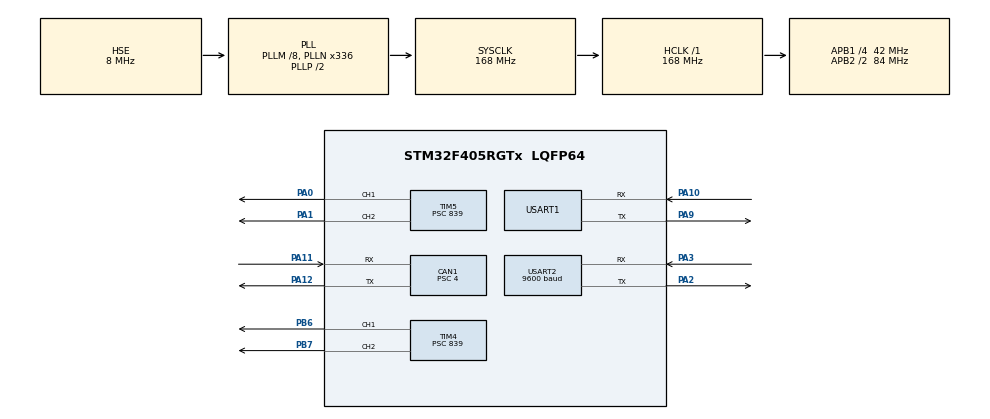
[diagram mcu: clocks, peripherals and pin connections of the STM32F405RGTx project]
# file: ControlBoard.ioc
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CAN1.BS1=CAN_BS1_14TQ
CAN1.BS2=CAN_BS2_6TQ
CAN1.CalculateBaudRate=500000
CAN1.CalculateTimeBit=2000
CAN1.CalculateTimeQuantum=95.23809523809524
CAN1.Prescaler=4
Mcu.Family=STM32F4
Mcu.Name=STM32F405RGTx
Mcu.Package=LQFP64
NVIC.CAN1_RX0_IRQn=true\:0\:0\:false\:false\:true\:true\:true\:true
NVIC.PriorityGroup=NVIC_PRIORITYGROUP_4
NVIC.USART1_IRQn=true\:0\:0\:false\:false\:true\:true\:true\:true
NVIC.USART2_IRQn=true\:0\:0\:false\:false\:true\:true\:true\:true
PA0-WKUP.Signal=S_TIM5_CH1
PA1.Signal=S_TIM5_CH2
PA10.Mode=Asynchronous
PA10.Signal=USART1_RX
PA11.GPIO_PuPd=GPIO_PULLUP
PA11.Mode=CAN_Activate
PA11.Signal=CAN1_RX
PA12.GPIO_PuPd=GPIO_PULLUP
PA12.Mode=CAN_Activate
PA12.Signal=CAN1_TX
PA13.Mode=Serial_Wire
PA13.Signal=SYS_JTMS-SWDIO
PA14.Mode=Serial_Wire
PA14.Signal=SYS_JTCK-SWCLK
PA2.Mode=Asynchronous
PA2.Signal=USART2_TX
PA3.Mode=Asynchronous
PA3.Signal=USART2_RX
PA9.Mode=Asynchronous
PA9.Signal=USART1_TX
PB6.Signal=S_TIM4_CH1
PB7.Signal=S_TIM4_CH2
PH0-OSC_IN.Mode=HSE-External-Oscillator
PH0-OSC_IN.Signal=RCC_OSC_IN
PH1-OSC_OUT.Mode=HSE-External-Oscillator
PH1-OSC_OUT.Signal=RCC_OSC_OUT
ProjectManager.HeapSize=0x200
ProjectManager.StackSize=0x400
ProjectManager.TargetToolchain=MDK-ARM V5.32
RCC.48MHZClocksFreq_Value=84000000
RCC.AHBFreq_Value=168000000
RCC.APB1CLKDivider=RCC_HCLK_DIV4
RCC.APB1Freq_Value=42000000
RCC.APB1TimFreq_Value=84000000
RCC.APB2CLKDivider=RCC_HCLK_DIV2
RCC.APB2Freq_Value=84000000
RCC.APB2TimFreq_Value=168000000
RCC.CortexFreq_Value=168000000
RCC.HCLKFreq_Value=168000000
RCC.HSE_VALUE=8000000
RCC.HSI_VALUE=16000000
RCC.LSE_VALUE=32768
RCC.PLLM=8
RCC.PLLN=336
RCC.PLLSourceVirtual=RCC_PLLSOURCE_HSE
RCC.SYSCLKFreq_VALUE=168000000
RCC.SYSCLKSource=RCC_SYSCLKSOURCE_PLLCLK
RCC.VCOOutputFreq_Value=336000000
SH.S_TIM4_CH1.0=TIM4_CH1,PWM Generation1 CH1
SH.S_TIM4_CH2.0=TIM4_CH2,PWM Generation2 CH2
SH.S_TIM5_CH1.0=TIM5_CH1,PWM Generation1 CH1
SH.S_TIM5_CH2.0=TIM5_CH2,PWM Generation2 CH2
TIM4.AutoReloadPreload=TIM_AUTORELOAD_PRELOAD_ENABLE
TIM4.Channel-PWM\ Generation1\ CH1=TIM_CHANNEL_1
TIM4.Channel-PWM\ Generation2\ CH2=TIM_CHANNEL_2
TIM4.OCMode_PWM-PWM\ Generation1\ CH1=TIM_OCMODE_PWM2
TIM4.OCMode_PWM-PWM\ Generation2\ CH2=TIM_OCMODE_PWM2
TIM4.OCPolarity_1=TIM_OCPOLARITY_LOW
TIM4.OCPolarity_2=TIM_OCPOLARITY_LOW
TIM4.Period=1999
TIM4.Prescaler=839
TIM4.Pulse-PWM\ Generation1\ CH1=0
TIM4.Pulse-PWM\ Generation2\ CH2=0
TIM5.AutoReloadPreload=TIM_AUTORELOAD_PRELOAD_ENABLE
TIM5.Channel-PWM\ Generation1\ CH1=TIM_CHANNEL_1
TIM5.Channel-PWM\ Generation2\ CH2=TIM_CHANNEL_2
TIM5.OCMode_PWM-PWM\ Generation1\ CH1=TIM_OCMODE_PWM2
TIM5.OCMode_PWM-PWM\ Generation2\ CH2=TIM_OCMODE_PWM2
TIM5.OCPolarity_1=TIM_OCPOLARITY_LOW
TIM5.OCPolarity_2=TIM_OCPOLARITY_LOW
TIM5.Period=1999
TIM5.Prescaler=839
TIM5.Pulse-PWM\ Generation1\ CH1=0
USART1.VirtualMode=VM_ASYNC
USART2.BaudRate=9600
USART2.VirtualMode=VM_ASYNC
VP_TIM4_VS_ClockSourceINT.Mode=Internal
VP_TIM5_VS_ClockSourceINT.Mode=Internal
board=custom

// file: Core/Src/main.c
/* USER CODE BEGIN Header */
/**
  ******************************************************************************
  * @file           : main.c
  * @brief          : Main program body
  ******************************************************************************
  * @attention
  *
  * Copyright (c) 2023 STMicroelectronics.
  * All rights reserved.
  *
  * This software is licensed under terms that can be found in the LICENSE file
  * in the root directory of this software component.
  * If no LICENSE file comes with this software, it is provided AS-IS.
  *
  ******************************************************************************
  */
/* USER CODE END Header */
#include "main.h"

/* USER CODE BEGIN Includes */
#include "can.h"
#include "tim.h"
#include "usart.h"
#include "pid.h"
/* USER CODE END Includes */

CAN_HandleTypeDef hcan1;

TIM_HandleTypeDef htim4;
TIM_HandleTypeDef htim5;

UART_HandleTypeDef huart1;
UART_HandleTypeDef huart2;

/* USER CODE BEGIN PV */
// button
uint8_t botton_LU, botton_LD, botton_LL, botton_LR;
uint8_t botton_RU, botton_RD, botton_RL, botton_RR;
uint8_t botton_top_LT, botton_top_LB, botton_top_RT, botton_top_RB;
uint8_t botton_A, botton_B, botton_center;
// rocker
uint16_t rocker[4]; //01是右摇杆 23是左摇杆

extern uint8_t aRxBuffer;
/* USER CODE END PV */

void SystemClock_Config(void);
static void MX_GPIO_Init(void);
static void MX_CAN1_Init(void);
static void MX_TIM4_Init(void);
static void MX_TIM5_Init(void);
static void MX_USART1_UART_Init(void);
static void MX_USART2_UART_Init(void);

int main(void)
{
  /* USER CODE BEGIN 1 */

	// 电机速度 舵机角度
	const uint8_t MOTOR_SPEED_NONE = 0;
	const uint8_t MOTOR_SPEED_LOW = 20;
	const uint8_t SERVO_ANGLE_NONE =0;
	const uint8_t SERVO_ANGLE_LOW = 30;

	// 按钮 摇杆
	const uint8_t BUTTON_PRESS = 0x00;
	const uint16_t ROCKER_THRESHOLD_MAX = 3000; // 摇杆值为0-3400 超过这个值则认为触发
	const uint16_t ROCKER_THRESHOLD_MIN = 400; // 摇杆值为0-3400 超过这个值则认为触发

  /* USER CODE END 1 */

  /* MCU Configuration--------------------------------------------------------*/

  /* Reset of all peripherals, Initializes the Flash interface and the Systick. */
  HAL_Init();

  /* Configure the system clock */
  SystemClock_Config();

  /* Initialize all configured peripherals */
  MX_GPIO_Init();
  MX_CAN1_Init();
  MX_TIM4_Init();
  MX_TIM5_Init();
  MX_USART1_UART_Init();
  MX_USART2_UART_Init();
  /* USER CODE BEGIN 2 */
	// Open CAN Interrupt
	HAL_CAN_Start(&hcan1);
	HAL_CAN_ActivateNotification(&hcan1, CAN_IT_RX_FIFO0_MSG_PENDING);
	// Open TIMER
	HAL_TIM_Base_Start(&htim4);
	HAL_TIM_Base_Start(&htim5);
	// Open PWM Output
	HAL_TIM_PWM_Start(&htim4, TIM_CHANNEL_1);
	HAL_TIM_PWM_Start(&htim4, TIM_CHANNEL_2);
	HAL_TIM_PWM_Start(&htim5, TIM_CHANNEL_1);
	HAL_TIM_PWM_Start(&htim5, TIM_CHANNEL_2);
	// Init ESC
	motorControl(&htim5, MOTOR_SPEED_NONE, 0);
	motorControl(&htim5, MOTOR_SPEED_NONE, 1);
	servoControl(&htim4, SERVO_ANGLE_NONE, 0);
	servoControl(&htim4, SERVO_ANGLE_NONE, 1);
	// Open UART2 Interrupt
	HAL_UART_Receive_IT(&huart2, (uint8_t *)&aRxBuffer, 1);
  /* USER CODE END 2 */

  /* Infinite loop */
  /* USER CODE BEGIN WHILE */

	// 控制模式
	enum controlMode
	{
		PidControl,// PID控制
		ConstValueControl, //定值控制
		Stop, //停止
	};
	int controlmode = ConstValueControl;

  while (1)
  {
		// 发送手柄数据
		SerialWrite(&huart1,
								 botton_LU, botton_LD, botton_LL, botton_LR,
								 botton_RU, botton_RD, botton_RL, botton_RR,
								 botton_top_LT, botton_top_LB, botton_top_RT, botton_top_RB,
								 botton_A, botton_B, botton_center,
								 rocker);

		// 摇杆值定义
		uint16_t left_rocker_x = rocker[3];
		uint16_t left_rocker_y = rocker[2];
		uint16_t right_rocker_x = rocker[1];
		uint16_t right_rocker_y = rocker[0];

		// 确定控制模式
		if(botton_A == BUTTON_PRESS)
		{
			controlmode = ConstValueControl;
		}
		if(botton_B == BUTTON_PRESS)
		{
			controlmode = PidControl;
		}
		if(botton_center == BUTTON_PRESS)
		{
			controlmode = Stop;
		}

		//定值控制
		if(controlmode == ConstValueControl)
		{
			// 电机控制
			if(botton_LU == BUTTON_PRESS  || left_rocker_y > ROCKER_THRESHOLD_MAX) //向前
			{
				motorControl(&htim5, MOTOR_SPEED_LOW, 0);
				motorControl(&htim5, -MOTOR_SPEED_LOW, 1);
			}
			else if(botton_LD == BUTTON_PRESS || left_rocker_y < ROCKER_THRESHOLD_MIN) //向后
			{
				motorControl(&htim5, -MOTOR_SPEED_LOW, 0);
				motorControl(&htim5, MOTOR_SPEED_LOW, 1);
			}
			else if(botton_LL == BUTTON_PRESS || left_rocker_x < ROCKER_THRESHOLD_MIN) //向左
			{
				motorControl(&htim5, -MOTOR_SPEED_LOW, 0);
				motorControl(&htim5, -MOTOR_SPEED_LOW, 1);
			}
			else if(botton_LR == BUTTON_PRESS || left_rocker_x > ROCKER_THRESHOLD_MAX) //向右
			{
				motorControl(&htim5, MOTOR_SPEED_LOW, 0);
				motorControl(&htim5, MOTOR_SPEED_LOW, 1);
			}
			else //没有按下则停止
			{
				motorControl(&htim5, MOTOR_SPEED_NONE, 0);
				motorControl(&htim5, MOTOR_SPEED_NONE, 1);
			}

			//舵机控制
			if(botton_RU == BUTTON_PRESS || right_rocker_y > ROCKER_THRESHOLD_MAX) //上仰
			{
				servoControl(&htim4, -SERVO_ANGLE_LOW, 0);
				servoControl(&htim4, -SERVO_ANGLE_LOW, 1);
			}
			else if(botton_RD == BUTTON_PRESS || right_rocker_y < ROCKER_THRESHOLD_MIN) //下潜
			{
				servoControl(&htim4, SERVO_ANGLE_LOW, 0);
				servoControl(&htim4, SERVO_ANGLE_LOW, 1);
			}
			else if(botton_RL == BUTTON_PRESS || right_rocker_x < ROCKER_THRESHOLD_MIN) //左滚
			{

			}
			else if(botton_RR == BUTTON_PRESS || right_rocker_x > ROCKER_THRESHOLD_MAX) //右滚
			{

			}
			else
			{
				servoControl(&htim4, SERVO_ANGLE_NONE, 0);
				servoControl(&htim4, SERVO_ANGLE_NONE, 1);
			}

		}
		// PID控制
		else if(controlmode == PidControl)
		{

		}
		else if(controlmode == Stop)
		{
			motorControl(&htim5, MOTOR_SPEED_NONE, 0);
			motorControl(&htim5, MOTOR_SPEED_NONE, 1);
			servoControl(&htim4, SERVO_ANGLE_NONE, 0);
			servoControl(&htim4, SERVO_ANGLE_NONE, 1);
		}

		HAL_Delay(50);
    /* USER CODE END WHILE */

  }
}

void SystemClock_Config(void)
{
  RCC_OscInitTypeDef RCC_OscInitStruct = {0};
  RCC_ClkInitTypeDef RCC_ClkInitStruct = {0};

  /** Configure the main internal regulator output voltage
  */
  __HAL_RCC_PWR_CLK_ENABLE();
  __HAL_PWR_VOLTAGESCALING_CONFIG(PWR_REGULATOR_VOLTAGE_SCALE1);

  /** Initializes the RCC Oscillators according to the specified parameters
  * in the RCC_OscInitTypeDef structure.
  */
  RCC_OscInitStruct.OscillatorType = RCC_OSCILLATORTYPE_HSE;
  RCC_OscInitStruct.HSEState = RCC_HSE_ON;
  RCC_OscInitStruct.PLL.PLLState = RCC_PLL_ON;
  RCC_OscInitStruct.PLL.PLLSource = RCC_PLLSOURCE_HSE;
  RCC_OscInitStruct.PLL.PLLM = 8;
  RCC_OscInitStruct.PLL.PLLN = 336;
  RCC_OscInitStruct.PLL.PLLP = RCC_PLLP_DIV2;
  RCC_OscInitStruct.PLL.PLLQ = 4;
  if (HAL_RCC_OscConfig(&RCC_OscInitStruct) != HAL_OK)
  {
    Error_Handler();
  }

  /** Initializes the CPU, AHB and APB buses clocks
  */
  RCC_ClkInitStruct.ClockType = RCC_CLOCKTYPE_HCLK|RCC_CLOCKTYPE_SYSCLK
                              |RCC_CLOCKTYPE_PCLK1|RCC_CLOCKTYPE_PCLK2;
  RCC_ClkInitStruct.SYSCLKSource = RCC_SYSCLKSOURCE_PLLCLK;
  RCC_ClkInitStruct.AHBCLKDivider = RCC_SYSCLK_DIV1;
  RCC_ClkInitStruct.APB1CLKDivider = RCC_HCLK_DIV4;
  RCC_ClkInitStruct.APB2CLKDivider = RCC_HCLK_DIV2;

  if (HAL_RCC_ClockConfig(&RCC_ClkInitStruct, FLASH_LATENCY_5) != HAL_OK)
  {
    Error_Handler();
  }
}

static void MX_CAN1_Init(void)
{

  hcan1.Instance = CAN1;
  hcan1.Init.Prescaler = 4;
  hcan1.Init.Mode = CAN_MODE_NORMAL;
  hcan1.Init.SyncJumpWidth = CAN_SJW_1TQ;
  hcan1.Init.TimeSeg1 = CAN_BS1_14TQ;
  hcan1.Init.TimeSeg2 = CAN_BS2_6TQ;
  hcan1.Init.TimeTriggeredMode = DISABLE;
  hcan1.Init.AutoBusOff = DISABLE;
  hcan1.Init.AutoWakeUp = DISABLE;
  hcan1.Init.AutoRetransmission = DISABLE;
  hcan1.Init.ReceiveFifoLocked = DISABLE;
  hcan1.Init.TransmitFifoPriority = DISABLE;
  if (HAL_CAN_Init(&hcan1) != HAL_OK)
  {
    Error_Handler();
  }
  /* USER CODE BEGIN CAN1_Init 2 */
	CAN_FilterTypeDef sFilterConfig;

	sFilterConfig.FilterBank = 0;
	sFilterConfig.FilterIdHigh = 0;
	sFilterConfig.FilterIdLow =  0;
	sFilterConfig.FilterMaskIdHigh = 0;
	sFilterConfig.FilterMaskIdLow = 0;
	sFilterConfig.FilterFIFOAssignment = CAN_RX_FIFO0;
	sFilterConfig.FilterMode = CAN_FILTERMODE_IDMASK;
	sFilterConfig.FilterScale = CAN_FILTERSCALE_32BIT;
	sFilterConfig.FilterActivation = ENABLE;
	sFilterConfig.SlaveStartFilterBank = 14;

	if(HAL_CAN_ConfigFilter(&hcan1, &sFilterConfig) != HAL_OK)
	{
		Error_Handler();
	}
  /* USER CODE END CAN1_Init 2 */

}

static void MX_TIM4_Init(void)
{

  TIM_ClockConfigTypeDef sClockSourceConfig = {0};
  TIM_MasterConfigTypeDef sMasterConfig = {0};
  TIM_OC_InitTypeDef sConfigOC = {0};

  htim4.Instance = TIM4;
  htim4.Init.Prescaler = 839;
  htim4.Init.CounterMode = TIM_COUNTERMODE_UP;
  htim4.Init.Period = 1999;
  htim4.Init.ClockDivision = TIM_CLOCKDIVISION_DIV1;
  htim4.Init.AutoReloadPreload = TIM_AUTORELOAD_PRELOAD_ENABLE;
  if (HAL_TIM_Base_Init(&htim4) != HAL_OK)
  {
    Error_Handler();
  }
  sClockSourceConfig.ClockSource = TIM_CLOCKSOURCE_INTERNAL;
  if (HAL_TIM_ConfigClockSource(&htim4, &sClockSourceConfig) != HAL_OK)
  {
    Error_Handler();
  }
  if (HAL_TIM_PWM_Init(&htim4) != HAL_OK)
  {
    Error_Handler();
  }
  sMasterConfig.MasterOutputTrigger = TIM_TRGO_RESET;
  sMasterConfig.MasterSlaveMode = TIM_MASTERSLAVEMODE_DISABLE;
  if (HAL_TIMEx_MasterConfigSynchronization(&htim4, &sMasterConfig) != HAL_OK)
  {
    Error_Handler();
  }
  sConfigOC.OCMode = TIM_OCMODE_PWM2;
  sConfigOC.Pulse = 0;
  sConfigOC.OCPolarity = TIM_OCPOLARITY_LOW;
  sConfigOC.OCFastMode = TIM_OCFAST_DISABLE;
  if (HAL_TIM_PWM_ConfigChannel(&htim4, &sConfigOC, TIM_CHANNEL_1) != HAL_OK)
  {
    Error_Handler();
  }
  if (HAL_TIM_PWM_ConfigChannel(&htim4, &sConfigOC, TIM_CHANNEL_2) != HAL_OK)
  {
    Error_Handler();
  }
  HAL_TIM_MspPostInit(&htim4);

}

static void MX_TIM5_Init(void)
{

  TIM_ClockConfigTypeDef sClockSourceConfig = {0};
  TIM_MasterConfigTypeDef sMasterConfig = {0};
  TIM_OC_InitTypeDef sConfigOC = {0};

  htim5.Instance = TIM5;
  htim5.Init.Prescaler = 839;
  htim5.Init.CounterMode = TIM_COUNTERMODE_UP;
  htim5.Init.Period = 1999;
  htim5.Init.ClockDivision = TIM_CLOCKDIVISION_DIV1;
  htim5.Init.AutoReloadPreload = TIM_AUTORELOAD_PRELOAD_ENABLE;
  if (HAL_TIM_Base_Init(&htim5) != HAL_OK)
  {
    Error_Handler();
  }
  sClockSourceConfig.ClockSource = TIM_CLOCKSOURCE_INTERNAL;
  if (HAL_TIM_ConfigClockSource(&htim5, &sClockSourceConfig) != HAL_OK)
  {
    Error_Handler();
  }
  if (HAL_TIM_PWM_Init(&htim5) != HAL_OK)
  {
    Error_Handler();
  }
  sMasterConfig.MasterOutputTrigger = TIM_TRGO_RESET;
  sMasterConfig.MasterSlaveMode = TIM_MASTERSLAVEMODE_DISABLE;
  if (HAL_TIMEx_MasterConfigSynchronization(&htim5, &sMasterConfig) != HAL_OK)
  {
    Error_Handler();
  }
  sConfigOC.OCMode = TIM_OCMODE_PWM2;
  sConfigOC.Pulse = 0;
  sConfigOC.OCPolarity = TIM_OCPOLARITY_LOW;
  sConfigOC.OCFastMode = TIM_OCFAST_DISABLE;
  if (HAL_TIM_PWM_ConfigChannel(&htim5, &sConfigOC, TIM_CHANNEL_1) != HAL_OK)
  {
    Error_Handler();
  }
  if (HAL_TIM_PWM_ConfigChannel(&htim5, &sConfigOC, TIM_CHANNEL_2) != HAL_OK)
  {
    Error_Handler();
  }
  HAL_TIM_MspPostInit(&htim5);

}

static void MX_USART1_UART_Init(void)
{

  huart1.Instance = USART1;
  huart1.Init.BaudRate = 115200;
  huart1.Init.WordLength = UART_WORDLENGTH_8B;
  huart1.Init.StopBits = UART_STOPBITS_1;
  huart1.Init.Parity = UART_PARITY_NONE;
  huart1.Init.Mode = UART_MODE_TX_RX;
  huart1.Init.HwFlowCtl = UART_HWCONTROL_NONE;
  huart1.Init.OverSampling = UART_OVERSAMPLING_16;
  if (HAL_UART_Init(&huart1) != HAL_OK)
  {
    Error_Handler();
  }

}

static void MX_USART2_UART_Init(void)
{

  huart2.Instance = USART2;
  huart2.Init.BaudRate = 115200;
  huart2.Init.WordLength = UART_WORDLENGTH_8B;
  huart2.Init.StopBits = UART_STOPBITS_1;
  huart2.Init.Parity = UART_PARITY_NONE;
  huart2.Init.Mode = UART_MODE_TX_RX;
  huart2.Init.HwFlowCtl = UART_HWCONTROL_NONE;
  huart2.Init.OverSampling = UART_OVERSAMPLING_16;
  if (HAL_UART_Init(&huart2) != HAL_OK)
  {
    Error_Handler();
  }

}

static void MX_GPIO_Init(void)
{

  /* GPIO Ports Clock Enable */
  __HAL_RCC_GPIOH_CLK_ENABLE();
  __HAL_RCC_GPIOA_CLK_ENABLE();
  __HAL_RCC_GPIOB_CLK_ENABLE();

}

void Error_Handler(void)
{
  __disable_irq();
  while (1)
  {
  }
}
